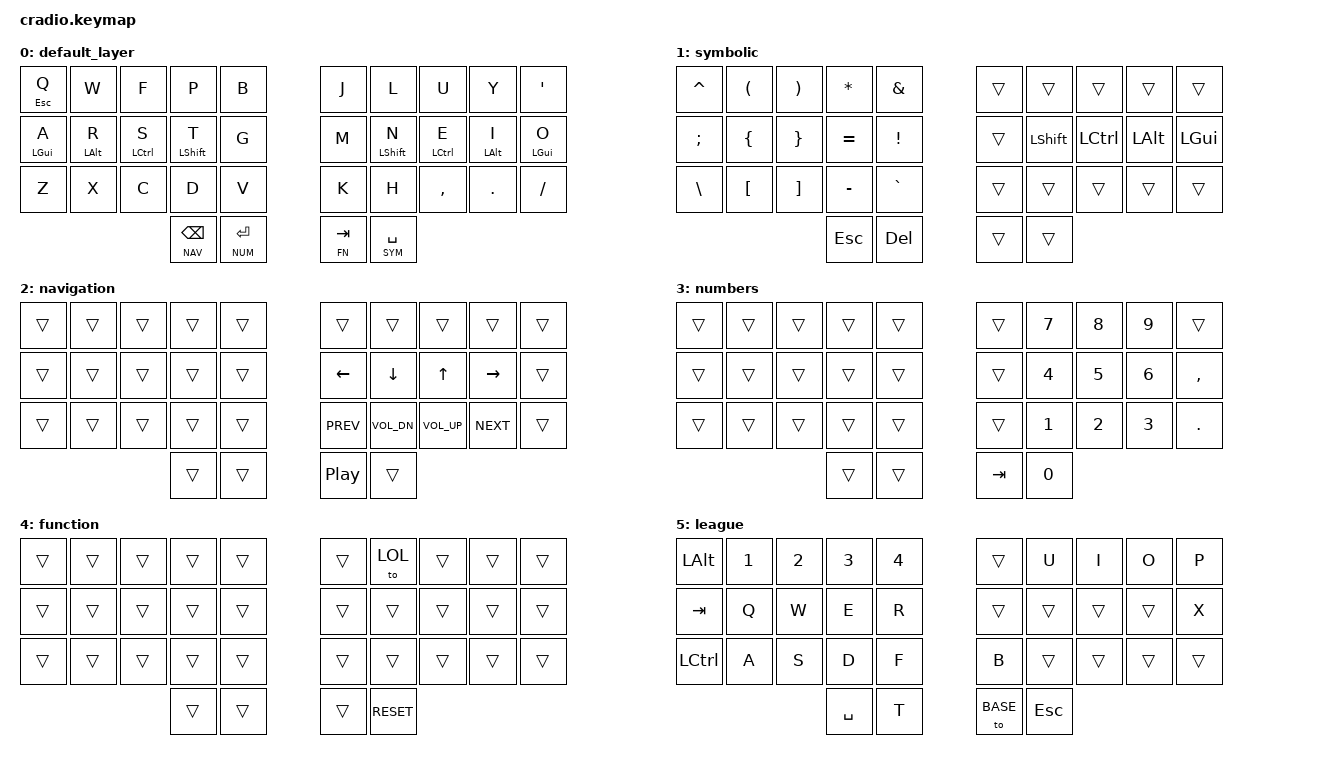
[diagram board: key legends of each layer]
// Copyright (c) 2022 The ZMK Contributors
// SPDX-License-Identifier: MIT

#include <behaviors.dtsi>
#include <dt-bindings/zmk/keys.h>
#include <dt-bindings/zmk/bt.h>

#define BASE 0
#define SYM 1
#define NAV 2
#define NUM 3
#define FN 4
#define LOL 5

/ {
    behaviors {
        ht: hold_tap {
            compatible = "zmk,behavior-hold-tap";
            #binding-cells = <2>;
            flavor = "tap-preferred";
            tapping-term-ms = <150>;
            quick-tap-ms = <150>;
            require-prior-idle-ms = <100>;
            bindings = <&kp>, <&kp>;
        };
/*
        td_lol: tap_dance_gaming {
            compatible = "zmk,behavior-tap-dance";
            #binding-cells = <0>;
            tapping-term-ms = <250>;

            // 1, 2, 3 taps do nothing/use whatever you want
            // 4 taps enters gaming
            bindings = <&kp L>, <&kp L>, <&kp L>, <&to LOL>;
        };
*/
    };

    keymap {
        compatible = "zmk,keymap";
        default_layer {
            bindings = <
        //╭──────────┬──────────┬──────────┬──────────┬──────────╮   ╭──────────┬──────────┬──────────┬──────────┬──────────╮
        //│  Q       │  W       │  F       │  P       │  B       │   │  J       │  L       │  U       │  Y       │    ' "   │
           &ht ESC Q   &kp W      &kp F      &kp P         &kp B       &kp J      &kp L      &kp U      &kp Y      &kp SQT
        //├──────────┼──────────┼──────────┼──────────┼──────────┤   ├──────────┼──────────┼──────────┼──────────┼──────────┤
        //│  A       │  R       │  S       │  T       │  G       │   │  M       │  N       │  E       │  I       │   O      │
           &ht LGUI A  &ht LALT R &ht LCTRL S &ht LSHFT T &kp G        &kp M     &ht LSHFT N &ht LCTRL E &ht LALT I &ht LGUI O
        //├──────────┼──────────┼──────────┼──────────┼──────────┤   ├──────────┼──────────┼──────────┼─────────┼──────────┤
        //│  Z       │  X       │  C       │  D       │  V       │   │  K       │  H       │ , <      │ . >      │ / ?      │
            &kp Z      &kp X      &kp C       &kp D       &kp V        &kp K     &kp H       &kp COMMA &kp DOT     &kp FSLH
        //╰──────────┴──────────┴──────────┼──────────┼──────────┤   ├──────────┼──────────┼──────────┴──────────┴──────────╯
                                            &lt NAV BSPC &lt NUM ENTER  &lt FN TAB  &lt SYM SPACE
        //                                 ╰──────────┴──────────╯   ╰──────────┴──────────╯
            >;
        };

        symbolic {
            bindings = <
        //╭──────────┬──────────┬──────────┬──────────┬──────────╮   ╭──────────┬──────────┬──────────┬──────────┬──────────╮
        //│     ^    │     (    │    )     │    *     │     &    │   │          │          │          │          │          │
            &kp CARET   &kp LPAR   &kp RPAR   &kp STAR   &kp AMPS       &trans     &trans     &trans     &trans    &trans
        //├──────────┼──────────┼──────────┼──────────┼──────────┤   ├──────────┼──────────┼──────────┼──────────┼──────────┤
        //│     ;    │     {    │    }     │    =+    │    !     │   │          │          │          │          │          │
            &kp SEMI   &kp LBRC   &kp RBRC    &kp EQUAL  &kp EXCL       &trans     &kp LSHFT  &kp LCTRL  &kp LALT   &kp LGUI
        //├──────────┼──────────┼──────────┼──────────┼──────────┤   ├──────────┼──────────┼──────────┼──────────┼──────────┤
        //│     \    │     [    │    ]     │    -_    │   `~     │   │          │          │          │          │          │
            &kp BSLH   &kp LBKT   &kp RBKT    &kp MINUS  &kp GRAVE      &trans     &trans     &trans     &trans     &trans
        //╰──────────┴──────────┴──────────┼──────────┼──────────┤   ├──────────┼──────────┼──────────┴──────────┴──────────╯
        //                                                 
                                              &kp ESC    &kp DEL       &trans     &trans
        //                                 ╰──────────┴──────────╯   ╰──────────┴──────────╯
            >;
        };

        navigation {
            bindings = <
        //╭──────────┬──────────┬──────────┬──────────┬──────────╮   ╭──────────┬──────────┬──────────┬──────────┬──────────╮
        //│          │          │          │          │          │   │          │          │          │          │          │
            &trans     &trans     &trans     &trans     &trans         &trans     &trans     &trans      &trans     &trans
        //├──────────┼──────────┼──────────┼──────────┼──────────┤   ├──────────┼──────────┼──────────┼──────────┼──────────┤
        //│          │          │          │          │          │   │          │          │          │          │          │
            &trans     &trans     &trans     &trans     &trans         &kp LEFT   &kp DOWN   &kp UP     &kp RIGHT    &trans
        //├──────────┼──────────┼──────────┼──────────┼──────────┤   ├──────────┼──────────┼──────────┼──────────┼──────────┤
        //│          │          │          │          │          │   │          │          │          │          │          │
            &trans     &trans     &trans     &trans     &trans         &kp C_PREV &kp C_VOL_DN &kp C_VOL_UP &kp C_NEXT  &trans
        //╰──────────┴──────────┴──────────┼──────────┼──────────┤   ├──────────┼──────────┼──────────┴──────────┴──────────╯
                                             &trans     &trans         &kp C_PP   &trans
        //                                 ╰──────────┴──────────╯   ╰──────────┴──────────╯
            >;
        };

        numbers {
            bindings = <
        //╭──────────┬──────────┬──────────┬──────────┬──────────╮   ╭──────────┬──────────┬──────────┬──────────┬──────────╮
        //│          │          │          │          │          │   │          │          │          │          │          │
            &trans     &trans     &trans     &trans     &trans         &trans     &kp N7     &kp N8     &kp N9     &trans
        //├──────────┼──────────┼──────────┼──────────┼──────────┤   ├──────────┼──────────┼──────────┼──────────┼──────────┤
        //│          │          │          │          │          │   │          │          │          │          │          │
            &trans     &trans     &trans     &trans     &trans         &trans     &kp N4     &kp N5     &kp N6     &kp COMMA
        //├──────────┼──────────┼──────────┼──────────┼──────────┤   ├──────────┼──────────┼──────────┼──────────┼──────────┤
        //│          │          │          │          │          │   │          │          │          │          │          │
            &trans     &trans     &trans     &trans     &trans         &trans     &kp N1     &kp N2     &kp N3     &kp DOT
        //╰──────────┴──────────┴──────────┼──────────┼──────────┤   ├──────────┼──────────┼──────────┴──────────┴──────────╯
                                             &trans     &trans         &kp TAB    &kp N0
        //                                 ╰──────────┴──────────╯   ╰──────────┴──────────╯
            >;
        };

        function {
            bindings = <
        //╭──────────┬──────────┬──────────┬──────────┬──────────╮   ╭──────────┬──────────┬──────────┬──────────┬──────────╮
        //│          │          │          │          │          │   │          │          │          │          │          │
            &trans     &trans     &trans     &trans     &trans         &trans     &to LOL     &trans      &trans    &trans 
        //├──────────┼──────────┼──────────┼──────────┼──────────┤   ├──────────┼──────────┼──────────┼──────────┼──────────┤
        //│          │          │          │          │          │   │          │          │          │          │          │
            &trans     &trans     &trans     &trans     &trans         &trans     &trans    &trans     &trans   &trans
        //├──────────┼──────────┼──────────┼──────────┼──────────┤   ├──────────┼──────────┼──────────┼──────────┼──────────┤
        //│          │          │          │          │          │   │          │          │          │          │          │
            &trans     &trans     &trans     &trans     &trans         &trans     &trans    &trans     &trans   &trans
        //╰──────────┴──────────┴──────────┼──────────┼──────────┤   ├──────────┼──────────┼──────────┴──────────┴──────────╯
                                             &trans     &trans         &trans    &kp C_RESET
        //                                 ╰──────────┴──────────╯   ╰──────────┴──────────╯
            >;
        };

        league {
            bindings = <
        //╭──────────┬──────────┬──────────┬──────────┬──────────╮   ╭──────────┬──────────┬──────────┬──────────┬──────────╮
        //│          │          │          │          │          │   │          │          │          │          │          │
            &kp LALT   &kp N1     &kp N2     &kp N3     &kp N4         &trans     &kp U     &kp I      &kp O    &kp P 
        //├──────────┼──────────┼──────────┼──────────┼──────────┤   ├──────────┼──────────┼──────────┼──────────┼──────────┤
        //│          │          │          │          │          │   │          │          │          │          │          │
            &kp TAB    &kp Q      &kp W      &kp E      &kp R          &trans     &trans    &trans     &trans   &kp X
        //├──────────┼──────────┼──────────┼──────────┼──────────┤   ├──────────┼──────────┼──────────┼──────────┼──────────┤
        //│          │          │          │          │          │   │          │          │          │          │          │
            &kp LCTRL  &kp A      &kp S      &kp D      &kp F          &kp B     &trans    &trans     &trans   &trans
        //╰──────────┴──────────┴──────────┼──────────┼──────────┤   ├──────────┼──────────┼──────────┴──────────┴──────────╯
                                             &kp SPACE  &kp T          &to BASE   &kp ESC
        //                                 ╰──────────┴──────────╯   ╰──────────┴──────────╯
            >;
        };
    };
};
